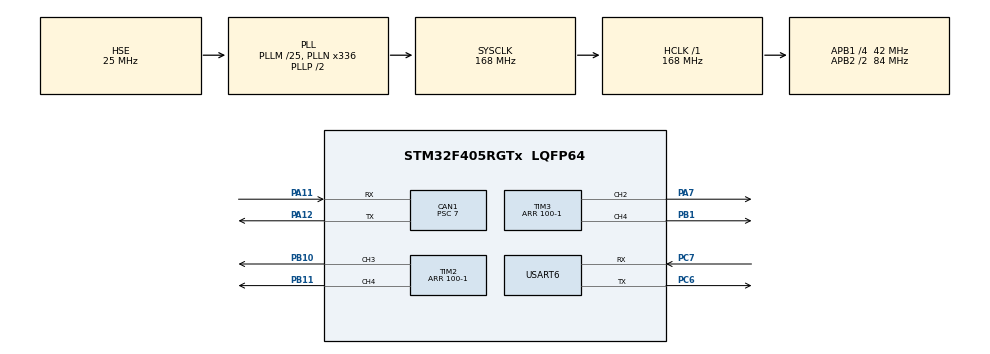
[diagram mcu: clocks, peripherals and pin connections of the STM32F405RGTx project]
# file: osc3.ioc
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CAN1.BS1=CAN_BS1_2TQ
CAN1.BS2=CAN_BS2_3TQ
CAN1.CalculateBaudRate=999999
CAN1.CalculateTimeBit=1000
CAN1.CalculateTimeQuantum=166.66666666666669
CAN1.Prescaler=7
FREERTOS.Tasks01=defaultTask,24,128,StartDefaultTask,Default,NULL,Dynamic,NULL,NULL;myTask02,8,128,StartTask02,Default,NULL,Dynamic,NULL,NULL;myTask03,8,128,StartTask03,Default,NULL,Dynamic,NULL,NULL;myTask04,8,128,StartTask04,Default,NULL,Dynamic,NULL,NULL
Mcu.Family=STM32F4
Mcu.Name=STM32F405RGTx
Mcu.Package=LQFP64
NVIC.PriorityGroup=NVIC_PRIORITYGROUP_4
NVIC.TIM6_DAC_IRQn=true\:15\:0\:false\:false\:true\:false\:false\:true\:true
NVIC.TimeBase=TIM6_DAC_IRQn
NVIC.TimeBaseIP=TIM6
PA11.Mode=CAN_Activate
PA11.Signal=CAN1_RX
PA12.Mode=CAN_Activate
PA12.Signal=CAN1_TX
PA13.Mode=Serial_Wire
PA13.Signal=SYS_JTMS-SWDIO
PA14.Mode=Serial_Wire
PA14.Signal=SYS_JTCK-SWCLK
PA7.Signal=S_TIM3_CH2
PB1.Signal=S_TIM3_CH4
PB10.Signal=S_TIM2_CH3
PB11.Signal=S_TIM2_CH4
PC14-OSC32_IN.Mode=LSE-External-Oscillator
PC14-OSC32_IN.Signal=RCC_OSC32_IN
PC15-OSC32_OUT.Mode=LSE-External-Oscillator
PC15-OSC32_OUT.Signal=RCC_OSC32_OUT
PC6.Mode=Asynchronous
PC6.Signal=USART6_TX
PC7.Mode=Asynchronous
PC7.Signal=USART6_RX
PH0-OSC_IN.Mode=HSE-External-Oscillator
PH0-OSC_IN.Signal=RCC_OSC_IN
PH1-OSC_OUT.Mode=HSE-External-Oscillator
PH1-OSC_OUT.Signal=RCC_OSC_OUT
ProjectManager.HeapSize=0x200
ProjectManager.StackSize=0x400
ProjectManager.TargetToolchain=MDK-ARM V5.32
RCC.48MHZClocksFreq_Value=84000000
RCC.AHBFreq_Value=168000000
RCC.APB1CLKDivider=RCC_HCLK_DIV4
RCC.APB1Freq_Value=42000000
RCC.APB1TimFreq_Value=84000000
RCC.APB2CLKDivider=RCC_HCLK_DIV2
RCC.APB2Freq_Value=84000000
RCC.APB2TimFreq_Value=168000000
RCC.CortexFreq_Value=168000000
RCC.HCLKFreq_Value=168000000
RCC.HSE_VALUE=25000000
RCC.HSI_VALUE=16000000
RCC.PLLM=25
RCC.PLLN=336
RCC.PLLSourceVirtual=RCC_PLLSOURCE_HSE
RCC.SYSCLKFreq_VALUE=168000000
RCC.SYSCLKSource=RCC_SYSCLKSOURCE_PLLCLK
RCC.VCOOutputFreq_Value=336000000
SH.S_TIM2_CH3.0=TIM2_CH3,PWM Generation3 CH3
SH.S_TIM2_CH4.0=TIM2_CH4,PWM Generation4 CH4
SH.S_TIM3_CH2.0=TIM3_CH2,PWM Generation2 CH2
SH.S_TIM3_CH4.0=TIM3_CH4,PWM Generation4 CH4
TIM2.Channel-PWM\ Generation3\ CH3=TIM_CHANNEL_3
TIM2.Channel-PWM\ Generation4\ CH4=TIM_CHANNEL_4
TIM2.Period=100-1
TIM3.Channel-PWM\ Generation2\ CH2=TIM_CHANNEL_2
TIM3.Channel-PWM\ Generation4\ CH4=TIM_CHANNEL_4
TIM3.Period=100-1
USART6.VirtualMode=VM_ASYNC
VP_FREERTOS_VS_CMSIS_V2.Mode=CMSIS_V2
VP_SYS_VS_tim6.Mode=TIM6
VP_TIM2_VS_ClockSourceINT.Mode=Internal
VP_TIM3_VS_ClockSourceINT.Mode=Internal
board=custom

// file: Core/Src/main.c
/* USER CODE BEGIN Header */
/**
  ******************************************************************************
  * @file           : main.c
  * @brief          : Main program body
  ******************************************************************************
  * @attention
  *
  * Copyright (c) 2024 STMicroelectronics.
  * All rights reserved.
  *
  * This software is licensed under terms that can be found in the LICENSE file
  * in the root directory of this software component.
  * If no LICENSE file comes with this software, it is provided AS-IS.
  *
  ******************************************************************************
  */
/* USER CODE END Header */
#include "main.h"
#include "cmsis_os.h"
#include "can.h"
#include "tim.h"
#include "usart.h"
#include "gpio.h"

void SystemClock_Config(void);
void MX_FREERTOS_Init(void);

int main(void)
{

  /* MCU Configuration--------------------------------------------------------*/

  /* Reset of all peripherals, Initializes the Flash interface and the Systick. */
  HAL_Init();

  /* Configure the system clock */
  SystemClock_Config();

  /* Initialize all configured peripherals */
  MX_GPIO_Init();
  MX_CAN1_Init();
  MX_TIM3_Init();
  MX_USART6_UART_Init();
  MX_TIM2_Init();

  /* Init scheduler */
  osKernelInitialize();

  /* Call init function for freertos objects (in cmsis_os2.c) */
  MX_FREERTOS_Init();

  /* Start scheduler */
  osKernelStart();

  /* We should never get here as control is now taken by the scheduler */

  /* Infinite loop */
  while (1)
  {

  }
}

void SystemClock_Config(void)
{
  RCC_OscInitTypeDef RCC_OscInitStruct = {0};
  RCC_ClkInitTypeDef RCC_ClkInitStruct = {0};

  /** Configure the main internal regulator output voltage
  */
  __HAL_RCC_PWR_CLK_ENABLE();
  __HAL_PWR_VOLTAGESCALING_CONFIG(PWR_REGULATOR_VOLTAGE_SCALE1);

  /** Initializes the RCC Oscillators according to the specified parameters
  * in the RCC_OscInitTypeDef structure.
  */
  RCC_OscInitStruct.OscillatorType = RCC_OSCILLATORTYPE_HSE;
  RCC_OscInitStruct.HSEState = RCC_HSE_ON;
  RCC_OscInitStruct.PLL.PLLState = RCC_PLL_ON;
  RCC_OscInitStruct.PLL.PLLSource = RCC_PLLSOURCE_HSE;
  RCC_OscInitStruct.PLL.PLLM = 25;
  RCC_OscInitStruct.PLL.PLLN = 336;
  RCC_OscInitStruct.PLL.PLLP = RCC_PLLP_DIV2;
  RCC_OscInitStruct.PLL.PLLQ = 4;
  if (HAL_RCC_OscConfig(&RCC_OscInitStruct) != HAL_OK)
  {
    Error_Handler();
  }

  /** Initializes the CPU, AHB and APB buses clocks
  */
  RCC_ClkInitStruct.ClockType = RCC_CLOCKTYPE_HCLK|RCC_CLOCKTYPE_SYSCLK
                              |RCC_CLOCKTYPE_PCLK1|RCC_CLOCKTYPE_PCLK2;
  RCC_ClkInitStruct.SYSCLKSource = RCC_SYSCLKSOURCE_PLLCLK;
  RCC_ClkInitStruct.AHBCLKDivider = RCC_SYSCLK_DIV1;
  RCC_ClkInitStruct.APB1CLKDivider = RCC_HCLK_DIV4;
  RCC_ClkInitStruct.APB2CLKDivider = RCC_HCLK_DIV2;

  if (HAL_RCC_ClockConfig(&RCC_ClkInitStruct, FLASH_LATENCY_5) != HAL_OK)
  {
    Error_Handler();
  }
}

void HAL_TIM_PeriodElapsedCallback(TIM_HandleTypeDef *htim)
{
  if (htim->Instance == TIM6) {
    HAL_IncTick();
  }
}

void Error_Handler(void)
{
  __disable_irq();
  while (1)
  {
  }
}

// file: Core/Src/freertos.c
/* USER CODE BEGIN Header */
/**
  ******************************************************************************
  * File Name          : freertos.c
  * Description        : Code for freertos applications
  ******************************************************************************
  * @attention
  *
  * Copyright (c) 2024 STMicroelectronics.
  * All rights reserved.
  *
  * This software is licensed under terms that can be found in the LICENSE file
  * in the root directory of this software component.
  * If no LICENSE file comes with this software, it is provided AS-IS.
  *
  ******************************************************************************
  */
/* USER CODE END Header */

#include "FreeRTOS.h"
#include "task.h"
#include "main.h"
#include "cmsis_os.h"

/* USER CODE BEGIN Includes */
#include "can.h"
#include "usart.h"
#include <stdio.h>
#include "tim.h"

/* USER CODE END Includes */

/* Definitions for defaultTask */
osThreadId_t defaultTaskHandle;
const osThreadAttr_t defaultTask_attributes = {
  .name = "defaultTask",
  .stack_size = 128 * 4,
  .priority = (osPriority_t) osPriorityNormal,
};
/* Definitions for myTask02 */
osThreadId_t myTask02Handle;
const osThreadAttr_t myTask02_attributes = {
  .name = "myTask02",
  .stack_size = 128 * 4,
  .priority = (osPriority_t) osPriorityLow,
};
/* Definitions for myTask03 */
osThreadId_t myTask03Handle;
const osThreadAttr_t myTask03_attributes = {
  .name = "myTask03",
  .stack_size = 128 * 4,
  .priority = (osPriority_t) osPriorityLow,
};
/* Definitions for myTask04 */
osThreadId_t myTask04Handle;
const osThreadAttr_t myTask04_attributes = {
  .name = "myTask04",
  .stack_size = 128 * 4,
  .priority = (osPriority_t) osPriorityLow,
};

void StartDefaultTask(void *argument);
void StartTask02(void *argument);
void StartTask03(void *argument);
void StartTask04(void *argument);

void MX_FREERTOS_Init(void); /* (MISRA C 2004 rule 8.1) */

void MX_FREERTOS_Init(void) {

  /* Create the thread(s) */
  /* creation of defaultTask */
  defaultTaskHandle = osThreadNew(StartDefaultTask, NULL, &defaultTask_attributes);

  /* creation of myTask02 */
  myTask02Handle = osThreadNew(StartTask02, NULL, &myTask02_attributes);

  /* creation of myTask03 */
  myTask03Handle = osThreadNew(StartTask03, NULL, &myTask03_attributes);

  /* creation of myTask04 */
  myTask04Handle = osThreadNew(StartTask04, NULL, &myTask04_attributes);

}

void StartDefaultTask(void *argument)
{
  /* USER CODE BEGIN StartDefaultTask */
  /* Infinite loop */
  for(;;)
  {
    vTaskDelete(NULL);
  }
  /* USER CODE END StartDefaultTask */
}

void StartTask02(void *argument)
{
  /* USER CODE BEGIN StartTask02 */
  /* Infinite loop */
  for(;;)
  {
    CAN_Transmit(25000);
    vTaskDelay(1);
  }
  /* USER CODE END StartTask02 */
}

void StartTask03(void *argument)
{
  /* USER CODE BEGIN StartTask03 */
  /* Infinite loop */
  for(;;)
  {
    printf("LMY\n");
    vTaskDelay(1);
  }
  /* USER CODE END StartTask03 */
}

void StartTask04(void *argument)
{
  /* USER CODE BEGIN StartTask04 */
  /* Infinite loop */
  for(;;)
  {
      for(int i = 0;i < 100;i++)
    {
        __HAL_TIM_SET_COMPARE(&htim2,TIM_CHANNEL_3,i);
        __HAL_TIM_SET_COMPARE(&htim2,TIM_CHANNEL_4,i);
        __HAL_TIM_SET_COMPARE(&htim3,TIM_CHANNEL_2,i);
        __HAL_TIM_SET_COMPARE(&htim3,TIM_CHANNEL_4,i);
        vTaskDelay(10);
    }
    for(int i = 0;i < 100;i++)
    {
        __HAL_TIM_SET_COMPARE(&htim2,TIM_CHANNEL_3,i);
        __HAL_TIM_SET_COMPARE(&htim2,TIM_CHANNEL_4,i);
        __HAL_TIM_SET_COMPARE(&htim3,TIM_CHANNEL_2,i);
        __HAL_TIM_SET_COMPARE(&htim3,TIM_CHANNEL_4,i);
        vTaskDelay(10);
    }
    vTaskDelay(1);
  }
  /* USER CODE END StartTask04 */
}
